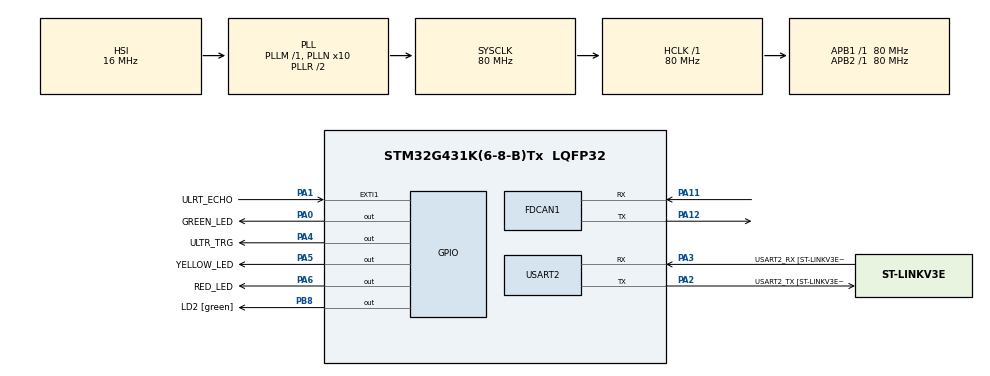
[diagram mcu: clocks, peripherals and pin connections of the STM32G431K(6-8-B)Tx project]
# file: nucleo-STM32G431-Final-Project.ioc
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FDCAN1.AutoRetransmission=ENABLE
FDCAN1.ClockDivider=FDCAN_CLOCK_DIV1
FDCAN1.DataSyncJumpWidth=4
FDCAN1.DataTimeSeg1=5
FDCAN1.DataTimeSeg2=4
FDCAN1.FrameFormat=FDCAN_FRAME_FD_BRS
FDCAN1.NominalPrescaler=1
FDCAN1.NominalSyncJumpWidth=16
FDCAN1.NominalTimeSeg1=63
FDCAN1.NominalTimeSeg2=16
FDCAN1.ProtocolException=DISABLE
FDCAN1.StdFiltersNbr=1
FDCAN1.TransmitPause=DISABLE
FREERTOS.HEAP_NUMBER=4
FREERTOS.Mutexes01=Mutex01,Dynamic,NULL
FREERTOS.Tasks01=Controller,24,300,Controller_handler,Default,NULL,Dynamic,NULL,NULL;led_green,24,128,led_green_handler,Default,NULL,Dynamic,NULL,NULL;ultra_sensor_tr,24,128,Start_ultra_sensor_tr,Default,NULL,Dynamic,NULL,NULL;led_yellow,24,128,led_yellow_handler,Default,NULL,Dynamic,NULL,NULL;led_red,24,128,led_red_handler,Default,NULL,Dynamic,NULL,NULL;CAN_Rx_Ctrlr,24,128,CAN_Rx_Ctrlr_handler,Default,NULL,Dynamic,NULL,NULL;CAN_Tx_Ctrlr,24,128,CAN_Tx_Ctrlr_handler,Default,NULL,Dynamic,NULL,NULL
FREERTOS.configTOTAL_HEAP_SIZE=8072
FREERTOS.configUSE_NEWLIB_REENTRANT=1
Mcu.Family=STM32G4
Mcu.Name=STM32G431K(6-8-B)Tx
Mcu.Package=LQFP32
NVIC.EXTI1_IRQn=true\:5\:0\:false\:false\:true\:true\:true\:true
NVIC.FDCAN1_IT0_IRQn=true\:5\:0\:false\:false\:true\:true\:true\:true
NVIC.PriorityGroup=NVIC_PRIORITYGROUP_4
NVIC.TIM1_UP_TIM16_IRQn=true\:5\:0\:false\:false\:true\:false\:false\:true
NVIC.TIM6_DAC_IRQn=true\:5\:0\:false\:false\:true\:true\:true\:true
NVIC.TIM7_IRQn=true\:5\:0\:false\:false\:true\:true\:true\:true
NVIC.TimeBase=TIM1_UP_TIM16_IRQn
NVIC.TimeBaseIP=TIM1
PA0.GPIO_Label=GREEN_LED
PA0.Signal=GPIO_Output
PA1.GPIO_Label=ULRT_ECHO
PA1.GPIO_ModeDefaultEXTI=GPIO_MODE_IT_RISING_FALLING
PA1.Signal=GPXTI1
PA11.Mode=FDCAN_Activate
PA11.Signal=FDCAN1_RX
PA12.Mode=FDCAN_Activate
PA12.Signal=FDCAN1_TX
PA13.GPIO_Label=T_SWDIO
PA13.Mode=Serial_Wire
PA13.Signal=SYS_JTMS-SWDIO
PA14.GPIO_Label=T_SWCLK
PA14.Mode=Serial_Wire
PA14.Signal=SYS_JTCK-SWCLK
PA2.GPIO_Label=USART2_TX [ST-LINKV3E_VCP_RX]
PA2.Mode=Asynchronous
PA2.Signal=USART2_TX
PA3.GPIO_Label=USART2_RX [ST-LINKV3E_VCP_TX]
PA3.Mode=Asynchronous
PA3.Signal=USART2_RX
PA4.GPIO_Label=ULTR_TRG
PA4.Signal=GPIO_Output
PA5.GPIO_Label=YELLOW_LED
PA5.Signal=GPIO_Output
PA6.GPIO_Label=RED_LED
PA6.Signal=GPIO_Output
PB3.GPIO_Label=T_SWO
PB3.Signal=SYS_JTDO-SWO
PB8-BOOT0.GPIO_Label=LD2 [green]
PB8-BOOT0.Signal=GPIO_Output
ProjectManager.HeapSize=0x200
ProjectManager.StackSize=0x400
ProjectManager.TargetToolchain=STM32CubeIDE
RCC.ADC12Freq_Value=80000000
RCC.AHBFreq_Value=80000000
RCC.APB1Freq_Value=80000000
RCC.APB1TimFreq_Value=80000000
RCC.APB2Freq_Value=80000000
RCC.APB2TimFreq_Value=80000000
RCC.CortexFreq_Value=80000000
RCC.EXTERNAL_CLOCK_VALUE=12288000
RCC.HCLKFreq_Value=80000000
RCC.HSE_VALUE=8000000
RCC.HSI48_VALUE=48000000
RCC.HSI_VALUE=16000000
RCC.LSE_VALUE=32768
RCC.PLLN=10
RCC.SYSCLKFreq_VALUE=80000000
RCC.SYSCLKSource=RCC_SYSCLKSOURCE_PLLCLK
RCC.USBFreq_Value=80000000
RCC.VCOOutputFreq_Value=160000000
TIM2.Prescaler=0
TIM8.PeriodNoDither=0xffff-1
TIM8.Prescaler=80-1
USART2.VirtualMode-Asynchronous=VM_ASYNC
USART2.WordLength=WORDLENGTH_8B
VP_FREERTOS_VS_CMSIS_V2.Mode=CMSIS_V2
VP_SYS_VS_DBSignals.Mode=DisableDeadBatterySignals
VP_SYS_VS_tim1.Mode=TIM1
VP_TIM2_VS_ClockSourceINT.Mode=Internal
VP_TIM6_VS_ClockSourceINT.Mode=Enable_Timer
VP_TIM7_VS_ClockSourceINT.Mode=Enable_Timer
VP_TIM8_VS_ClockSourceINT.Mode=Internal
board=NUCLEO-G431KB

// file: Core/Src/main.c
/* USER CODE BEGIN Header */
/**
  ============================================================================
                     University of Michigan - Dearborn
  ============================================================================
                   ECE-554 Embedded Systems. Winter 2022
  ============================================================================
  %title:             Distance measurement with CAN notification
  %created_by:        Luis Castaneda-Trejo
  %date_created:      2/28/2022
  ============================================================================
   DESCRIPTION : Real-Time embedded controller capable of measuring the
   distance of an object in cm and notify its measurement to a CAN network.
  ============================================================================

  ============================================================================
                                  REVISION HISTORY
  ============================================================================
    REVISION |   DATE      |                               |      AUTHOR
  ============================================================================
    0.1      |  2/25/2022   |                             | L. Castaneda
    0.1.1    |  2/27/2022   |                             | L. Castaneda
    0.5      |  3/18/2022   |                             | L. Castaneda
  ============================================================================
  */
/* USER CODE END Header */
#include "main.h"
#include "cmsis_os.h"
#include "fdcan.h"
#include "tim.h"
#include "usart.h"
#include "gpio.h"

/* USER CODE BEGIN Includes */
#include "Globals.h"
/* USER CODE END Includes */

void SystemClock_Config(void);
void MX_FREERTOS_Init(void);

int main(void)
{

  /* MCU Configuration--------------------------------------------------------*/

  /* Reset of all peripherals, Initializes the Flash interface and the Systick. */
  HAL_Init();

  /* Configure the system clock */
  SystemClock_Config();

  /* Initialize all configured peripherals */
  MX_GPIO_Init();
  MX_USART2_UART_Init();
  MX_FDCAN1_Init();
  MX_TIM6_Init();
  MX_TIM7_Init();
  MX_TIM8_Init();
  MX_TIM2_Init();
  /* USER CODE BEGIN 2 */

  HAL_TIM_Base_Start(&htim2);

  /* USER CODE END 2 */

  /* Init scheduler */
  osKernelInitialize();  /* Call init function for freertos objects (in freertos.c) */
  MX_FREERTOS_Init();
  /* Start scheduler */
  osKernelStart();

  /* We should never get here as control is now taken by the scheduler */
  /* Infinite loop */
  while (1)
  {

  }
}

void SystemClock_Config(void)
{
  RCC_OscInitTypeDef RCC_OscInitStruct = {0};
  RCC_ClkInitTypeDef RCC_ClkInitStruct = {0};

  /** Configure the main internal regulator output voltage
  */
  HAL_PWREx_ControlVoltageScaling(PWR_REGULATOR_VOLTAGE_SCALE1);
  /** Initializes the RCC Oscillators according to the specified parameters
  * in the RCC_OscInitTypeDef structure.
  */
  RCC_OscInitStruct.OscillatorType = RCC_OSCILLATORTYPE_HSI;
  RCC_OscInitStruct.HSIState = RCC_HSI_ON;
  RCC_OscInitStruct.HSICalibrationValue = RCC_HSICALIBRATION_DEFAULT;
  RCC_OscInitStruct.PLL.PLLState = RCC_PLL_ON;
  RCC_OscInitStruct.PLL.PLLSource = RCC_PLLSOURCE_HSI;
  RCC_OscInitStruct.PLL.PLLM = RCC_PLLM_DIV1;
  RCC_OscInitStruct.PLL.PLLN = 10;
  RCC_OscInitStruct.PLL.PLLP = RCC_PLLP_DIV2;
  RCC_OscInitStruct.PLL.PLLQ = RCC_PLLQ_DIV2;
  RCC_OscInitStruct.PLL.PLLR = RCC_PLLR_DIV2;
  if (HAL_RCC_OscConfig(&RCC_OscInitStruct) != HAL_OK)
  {
    Error_Handler();
  }
  /** Initializes the CPU, AHB and APB buses clocks
  */
  RCC_ClkInitStruct.ClockType = RCC_CLOCKTYPE_HCLK|RCC_CLOCKTYPE_SYSCLK
                              |RCC_CLOCKTYPE_PCLK1|RCC_CLOCKTYPE_PCLK2;
  RCC_ClkInitStruct.SYSCLKSource = RCC_SYSCLKSOURCE_PLLCLK;
  RCC_ClkInitStruct.AHBCLKDivider = RCC_SYSCLK_DIV1;
  RCC_ClkInitStruct.APB1CLKDivider = RCC_HCLK_DIV1;
  RCC_ClkInitStruct.APB2CLKDivider = RCC_HCLK_DIV1;

  if (HAL_RCC_ClockConfig(&RCC_ClkInitStruct, FLASH_LATENCY_2) != HAL_OK)
  {
    Error_Handler();
  }
}

void HAL_TIM_PeriodElapsedCallback(TIM_HandleTypeDef *htim)
{
  if (htim->Instance == TIM1) {
    HAL_IncTick();
  }
}

void Error_Handler(void)
{
  __disable_irq();
  while (1)
  {
  }
}

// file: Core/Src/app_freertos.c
/* USER CODE BEGIN Header */
/**
  ******************************************************************************
  * File Name          : app_freertos.c
  * Description        : Code for freertos applications
  ******************************************************************************
  */
/* USER CODE END Header */

#include "FreeRTOS.h"
#include "task.h"
#include "main.h"
#include "cmsis_os.h"

/* USER CODE BEGIN Includes */
#include "Globals.h"
#include "fdcan.h"
#include "tim.h"
#include "stdio.h"
/* USER CODE END Includes */

/* USER CODE BEGIN PTD */
typedef struct memory_buffer
{
	uint32_t downcounter;
	uint8_t enable;
	uint32_t ticks;
}mBuff;
/* USER CODE END PTD */

/* USER CODE BEGIN PD */
#define SPEED_OF_SOUND    34300          // Speed of sound in cm/s.
#define TIMER_PERIOD      0.0000000125   //80 Mhz clock. Period = 0.0125 us.
#define OFF               0
#define ON                1
#define TOGGLE            2
#define RESTART           100
#define DANGER            1
#define WARNING           2
#define SAFE              3
#define CURRENT           0
#define PAST              1
//#define DEBUG_MODE

/* USER CODE END PD */

/* USER CODE BEGIN Variables */
CANobject *CAN_Message1;
uint8_t CAN_MsgContinious = ON;

/* USER CODE END Variables */
/* Definitions for Controller */
const osThreadAttr_t Controller_attributes = {
  .name = "Controller",
  .priority = (osPriority_t) osPriorityNormal,
  .stack_size = 300 * 4
};
/* Definitions for led_green */
const osThreadAttr_t led_green_attributes = {
  .name = "led_green",
  .priority = (osPriority_t) osPriorityNormal,
  .stack_size = 128 * 4
};
/* Definitions for ultra_sensor_tr */
const osThreadAttr_t ultra_sensor_tr_attributes = {
  .name = "ultra_sensor_tr",
  .priority = (osPriority_t) osPriorityNormal,
  .stack_size = 128 * 4
};
/* Definitions for led_yellow */
const osThreadAttr_t led_yellow_attributes = {
  .name = "led_yellow",
  .priority = (osPriority_t) osPriorityNormal,
  .stack_size = 128 * 4
};
/* Definitions for led_red */
const osThreadAttr_t led_red_attributes = {
  .name = "led_red",
  .priority = (osPriority_t) osPriorityNormal,
  .stack_size = 128 * 4
};
/* Definitions for CAN_Rx_Ctrlr */
const osThreadAttr_t CAN_Rx_Ctrlr_attributes = {
  .name = "CAN_Rx_Ctrlr",
  .priority = (osPriority_t) osPriorityNormal,
  .stack_size = 128 * 4
};
/* Definitions for CAN_Tx_Ctrlr */
const osThreadAttr_t CAN_Tx_Ctrlr_attributes = {
  .name = "CAN_Tx_Ctrlr",
  .priority = (osPriority_t) osPriorityNormal,
  .stack_size = 128 * 4
};
/* Definitions for Mutex01 */
osMutexId_t Mutex01Handle;
const osMutexAttr_t Mutex01_attributes = {
  .name = "Mutex01"
};

/* USER CODE BEGIN FunctionPrototypes */
uint8_t number_to_byte_arr(uint8_t *byte_array, uint32_t number_to_convert);

/* USER CODE END FunctionPrototypes */

void Controller_handler(void *argument);
void led_green_handler(void *argument);
void Start_ultra_sensor_tr(void *argument);
void led_yellow_handler(void *argument);
void led_red_handler(void *argument);
void CAN_Rx_Ctrlr_handler(void *argument);
void CAN_Tx_Ctrlr_handler(void *argument);

void MX_FREERTOS_Init(void); /* (MISRA C 2004 rule 8.1) */

void MX_FREERTOS_Init(void) {
  /* Create the mutex(es) */
  /* creation of Mutex01 */
  Mutex01Handle = osMutexNew(&Mutex01_attributes);

  /* Create the thread(s) */
  /* creation of Controller */
  ControllerHandle = osThreadNew(Controller_handler, NULL, &Controller_attributes);

  /* creation of led_green */
  led_greenHandle = osThreadNew(led_green_handler, NULL, &led_green_attributes);

  /* creation of ultra_sensor_tr */
  ultra_sensor_trHandle = osThreadNew(Start_ultra_sensor_tr, NULL, &ultra_sensor_tr_attributes);

  /* creation of led_yellow */
  led_yellowHandle = osThreadNew(led_yellow_handler, NULL, &led_yellow_attributes);

  /* creation of led_red */
  led_redHandle = osThreadNew(led_red_handler, NULL, &led_red_attributes);

  /* creation of CAN_Rx_Ctrlr */
  CAN_Rx_CtrlrHandle = osThreadNew(CAN_Rx_Ctrlr_handler, NULL, &CAN_Rx_Ctrlr_attributes);

  /* creation of CAN_Tx_Ctrlr */
  CAN_Tx_CtrlrHandle = osThreadNew(CAN_Tx_Ctrlr_handler, NULL, &CAN_Tx_Ctrlr_attributes);

}

void Controller_handler(void *argument)
{
  /* USER CODE BEGIN Controller_handler */
  uint32_t timer_ticks = 0;
  uint8_t reversed_array[8], reversed_array_size = 0, reversed_array_elem = 0;
  uint32_t distance_zone;
  float distance;
  SM_STATES state = INIT;
  BaseType_t status;
  mBuff debounce;

  /* Infinite loop */
  for(;;)
  {
	  /* USER CODE BEGIN SM_Controller */
	  switch(state)
	  {
		  case INIT:   /*Initialize the State Machine*/
			           Prepare_CANFilter();
			           CAN_Message1 = GetCANMessage(0x322);                                     //Creates a CAN Message object.
			           CAN_Start();

			           distance_thresholds.danger = 10;
			           distance_thresholds.warning = 20;

			           xTaskNotify((TaskHandle_t)led_greenHandle, ON, eSetValueWithOverwrite);   //Sets GREEN led to OFF
			  	  	   xTaskNotify((TaskHandle_t)led_yellowHandle, OFF, eSetValueWithOverwrite); //Sets YELLOW led to OFF
			  	  	   xTaskNotify((TaskHandle_t)led_redHandle, OFF, eSetValueWithOverwrite);    //Sets RED led to OFF
			  	  	   debounce.downcounter = RESTART;                                           //Sets the debounce counter to initial value.
			  	  	   debounce.enable = OFF;                                                    //Disables debounce logic.

			  	  	   state = MAIN;
					   break;

		  case MAIN:   /*MAIN*/
					   status = xTaskNotifyWait(0, 0, &timer_ticks, pdMS_TO_TICKS(20));

					   if(status == pdPASS)
					   {
						   if(debounce.enable == ON)
						   {
							   timer_ticks = debounce.ticks;                                     //Uses the debounce ticks to prevent bouncing.
							   debounce.downcounter--;
						   }

						   distance = SPEED_OF_SOUND * TIMER_PERIOD * timer_ticks * 0.5;           //Divided by 2 because sound goes from the sensor to object
						                                                                         //and back to the sensor.
#ifdef DEBUG_MODE
						   char string_number[20];
						   osStatus_t  m_status;

						   sprintf(string_number, "%0.3f", distance);
						   m_status = osMutexAcquire(Mutex01Handle, osWaitForever);              //Gets the Mutex for UART printing
						   if(m_status == osOK) print_to_console(string_number);
						   osMutexRelease(Mutex01Handle);
#endif

						   /*This case will trigger the DANGER ZONE indicator (RED LED)*/
						   if(distance >= 0 && distance <= distance_thresholds.danger)
						   {
							   distance_zone = DANGER;

							   xTaskNotify((TaskHandle_t)led_redHandle, TOGGLE, eSetValueWithOverwrite);
							   xTaskNotify((TaskHandle_t)led_greenHandle, OFF, eSetValueWithOverwrite);
							   xTaskNotify((TaskHandle_t)led_yellowHandle, OFF, eSetValueWithOverwrite);

							   if(debounce.downcounter == 0)
							   {
								   debounce.enable = OFF;              //Once debounce memory buffer finish offload. Disable debounce mem buffer.
								   debounce.downcounter = RESTART;
							   }
							   else
							   {
								   debounce.enable = ON;               //Enables debounce memory buffer if previous cycle was OK(GREEN LED).
								   debounce.ticks = timer_ticks;       //Holder for ticks. Will be used for the upcoming cycles.
							   }

							   CAN_Message1->Tx_Payload[7] = 0x02;     //Danger signal is BIT #2.
						   }
						   /*This case will trigger the WARNING ZONE indicator (YELLOW LED)*/
						   else if(distance > distance_thresholds.danger && distance <= distance_thresholds.warning)
						   {
							    distance_zone = WARNING;

								xTaskNotify((TaskHandle_t)led_yellowHandle, ON, eSetValueWithOverwrite);
								xTaskNotify((TaskHandle_t)led_greenHandle, OFF, eSetValueWithOverwrite);
							    xTaskNotify((TaskHandle_t)led_redHandle, OFF, eSetValueWithOverwrite);

								if(debounce.downcounter == 0)          //Same above logic applies to the WARNING case.
								{
									debounce.enable = OFF;
									debounce.downcounter = RESTART;
								}
								else
								{
									debounce.enable = ON;
									debounce.ticks = timer_ticks;
								}

								CAN_Message1->Tx_Payload[7] = 0x01;    //Warning signal is BIT #1.
						   }
						   /*This case will trigger the OK ZONE indicator (GREEN LED)*/
						   else
						   {
							   distance_zone = SAFE;

							   xTaskNotify((TaskHandle_t)led_yellowHandle, OFF, eSetValueWithOverwrite);
							   xTaskNotify((TaskHandle_t)led_redHandle, OFF, eSetValueWithOverwrite);
							   xTaskNotify((TaskHandle_t)led_greenHandle, ON, eSetValueWithOverwrite);

							   CAN_Message1->Tx_Payload[7] = 0x00;       //No Warning or Danger signals.
						   }

						   reversed_array_size = number_to_byte_arr(reversed_array, (uint8_t)distance);
						   reversed_array_elem = reversed_array_size;

						   /*Takes the values from the reversed array and populates the array that will be sent via CAN*/
						   for(uint8_t counter = 0; counter <= reversed_array_size; counter++)
						   {
							  CAN_Message1->Tx_Payload[counter] = reversed_array[reversed_array_elem];
							  reversed_array_elem--;
						   }

						   reversed_array_size = 0;

						   xTaskNotify((TaskHandle_t)CAN_Tx_CtrlrHandle, distance_zone, eSetValueWithOverwrite);
					   }
					   else
						   print_to_console("Waiting for sensor data...");

					   break;

		  case ERR_h:  /*Case to handle errors prior calling error_handler()*/
					   HAL_GPIO_WritePin(GREEN_LED_GPIO_Port, GREEN_LED_Pin, ON);
					   HAL_GPIO_WritePin(RED_LED_GPIO_Port, RED_LED_Pin, ON);
					   HAL_GPIO_WritePin(YELLOW_LED_GPIO_Port, YELLOW_LED_Pin, ON);

					   Error_Handler();
					   break;

		  default:     break;
	  }
	  /* USER CODE END SM_Controller */

   }
  /* USER CODE END Controller_handler */
}

void led_green_handler(void *argument)
{
  /* USER CODE BEGIN led_green_handler */
  uint32_t flag;
  BaseType_t status;

  /* Infinite loop */
  for(;;)
  {
	  //HAL_GPIO_TogglePin(GREEN_LED_GPIO_Port, GREEN_LED_Pin);
	  status = xTaskNotifyWait(0, 0, &flag, pdMS_TO_TICKS(10));

#ifdef DEBUG_MODE
	  char string_number[20];
	  osStatus_t  m_status;

	  sprintf(string_number, "%u", flag);
	  m_status = osMutexAcquire(Mutex01Handle, osWaitForever);           //Gets the Mutex for UART printing
	  if(m_status == osOK){
		  print_to_console("led_handler value received...");
		  print_to_console(string_number);
	  }
	  osMutexRelease(Mutex01Handle);                                     //Releases the Mutex
#endif

	  if(status == pdPASS)
	  {
		  switch(flag)
		  {
			  case ON:     HAL_GPIO_WritePin(GREEN_LED_GPIO_Port, GREEN_LED_Pin, ON);   break;
			  case OFF:    HAL_GPIO_WritePin(GREEN_LED_GPIO_Port, GREEN_LED_Pin, OFF);  break;
			  case TOGGLE: HAL_GPIO_TogglePin(GREEN_LED_GPIO_Port, GREEN_LED_Pin);      break;
			  default:                                                                  break;
		  }
	  }
  }
  /* USER CODE END led_green_handler */
}

void Start_ultra_sensor_tr(void *argument)
{
  /* USER CODE BEGIN Start_ultra_sensor_tr */
  TickType_t xLastWakeTime;
  HAL_TIM_Base_Start(&htim8);

  xLastWakeTime = xTaskGetTickCount();

  /* Infinite loop */
  for(;;)
  {
	  HAL_GPIO_WritePin(ULTR_TRG_GPIO_Port, ULTR_TRG_Pin, GPIO_PIN_SET);
	  delay_us(10);  //The HC-SR10 needs a delay of 10 us as a minimum for the TRIG to happen.
	  HAL_GPIO_WritePin(ULTR_TRG_GPIO_Port, ULTR_TRG_Pin, GPIO_PIN_RESET);

      vTaskDelayUntil(&xLastWakeTime, pdMS_TO_TICKS(3));
  }
  /* USER CODE END Start_ultra_sensor_tr */
}

void led_yellow_handler(void *argument)
{
  /* USER CODE BEGIN led_yellow_handler */
  uint32_t flag;
  BaseType_t status;

  /* Infinite loop */
  for(;;)
  {
	  status = xTaskNotifyWait(0, 0, &flag, pdMS_TO_TICKS(10));

#ifdef DEBUG_MODE
	  char string_number[20];
	  osStatus_t  m_status;

	  sprintf(string_number, "%u", flag);
	  m_status = osMutexAcquire(Mutex01Handle, osWaitForever);           //Gets the Mutex for UART printing
	  if(m_status == osOK){
		  print_to_console("led_handler value received...");
		  print_to_console(string_number);
	  }
	  osMutexRelease(Mutex01Handle);                                     //Releases the Mutex
#endif

	  if(status == pdPASS)
	  {
		  switch(flag)
		  {
			  case ON:     HAL_GPIO_WritePin(YELLOW_LED_GPIO_Port, YELLOW_LED_Pin, ON);  break;
			  case OFF:    HAL_GPIO_WritePin(YELLOW_LED_GPIO_Port, YELLOW_LED_Pin, OFF); break;
			  case TOGGLE: HAL_GPIO_TogglePin(YELLOW_LED_GPIO_Port, YELLOW_LED_Pin);     break;
			  default:                                                                   break;
		  }
	  }
  }
  /* USER CODE END led_yellow_handler */
}

void led_red_handler(void *argument)
{
  /* USER CODE BEGIN led_red_handler */
  uint32_t flag;
  BaseType_t status;

  /* Infinite loop */
  for(;;)
  {
	  status = xTaskNotifyWait(0, 0, &flag, pdMS_TO_TICKS(10));

#ifdef DEBUG_MODE
	  char string_number[20];
	  osStatus_t  m_status;

	  sprintf(string_number, "%u", flag);
	  m_status = osMutexAcquire(Mutex01Handle, osWaitForever);           //Gets the Mutex for UART printing
	  if(m_status == osOK){
		  print_to_console("led_handler value received...");
		  print_to_console(string_number);
	  }
	  osMutexRelease(Mutex01Handle);                                     //Releases the Mutex
#endif

	  if(status == pdTRUE)
	  {
		  switch(flag)
		  {
			  case ON:     HAL_GPIO_WritePin(RED_LED_GPIO_Port, RED_LED_Pin, ON);  break;
			  case OFF:    HAL_GPIO_WritePin(RED_LED_GPIO_Port, RED_LED_Pin, OFF); break;
			  case TOGGLE: HAL_GPIO_TogglePin(RED_LED_GPIO_Port, RED_LED_Pin);
			               vTaskDelay(pdMS_TO_TICKS(100));
						   break;
			  default:     break;
		  }
	  }
  }
  /* USER CODE END led_red_handler */
}

void CAN_Rx_Ctrlr_handler(void *argument)
{
  /* USER CODE BEGIN CAN_Rx_Ctrlr_handler */
  BaseType_t status;
  CANobject *CAN_MessageRx;

  CAN_MessageRx = GetCANMessage(0x72E);                                                          //Creates a CAN Message object.

  /* Infinite loop */
  for(;;)
  {
	  status = xTaskNotifyWait(0, 0, NULL, pdMS_TO_TICKS(20));
	  if(status == pdPASS)
	  {
		  if(CAN_MSG_Received.Rx_Payload[1] == 0x22 && CAN_MSG_Received.Rx_Payload[2] == 0xFE)
		  {
			  switch(CAN_MSG_Received.Rx_Payload[3])
			  {
			       case 0x01: /*CONFIGURATION CASE: Update Thresholds*/
#ifdef DEBUG_MODE
			    	          osStatus_t  m_status;
			    	          m_status = osMutexAcquire(Mutex01Handle, osWaitForever);           //Gets the Mutex for UART printing
							  if(m_status == osOK) print_to_console("Updating distance thresholds...");
							  osMutexRelease(Mutex01Handle);                                     //Releases the Mutex
#endif

							  distance_thresholds.danger  = CAN_MSG_Received.Rx_Payload[4];      //Sets the new danger threshold value.
			       	   	   	  distance_thresholds.warning = CAN_MSG_Received.Rx_Payload[5];      //Sets the new warning threshold value.

			       	   	      CAN_MessageRx->Tx_Payload[0] = 0x05;                               //Sets the 0x562 header for response part 1.
			       	   	      CAN_MessageRx->Tx_Payload[1] = 0x62;								 //Sets the 0x562 header for response part 2.
			       	   	      CAN_MessageRx->Tx_Payload[2] = 0xFE;                               //Sets the DID number.
			       	   	      CAN_MessageRx->Tx_Payload[3] = 0x01;                               //Sets the DID configuration case.
			       	   	      CAN_MessageRx->Tx_Payload[4] = CAN_MSG_Received.Rx_Payload[4];     //Sets the acknowledge danger threshold.
			       	   	      CAN_MessageRx->Tx_Payload[5] = CAN_MSG_Received.Rx_Payload[5];     //Sets the acknowledge warning threshold.

			       	   	   	  HAL_FDCAN_AddMessageToTxFifoQ(&hfdcan1, &CAN_MessageRx->TxHeader, CAN_MessageRx->Tx_Payload); //Sends positive acknowledgment.

#ifdef DEBUG_MODE
			       	   	      m_status = osMutexAcquire(Mutex01Handle, osWaitForever);           //Gets the Mutex for UART printing
			       	   		  if(m_status == osOK) print_to_console("Distance thresholds updated");
			       	   		  osMutexRelease(Mutex01Handle);                                     //Releases the Mutex
#endif

			    	          break;

			       case 0x02: /*CONFIGURATION CASE: Distance notification mode */
			    	          if(CAN_MSG_Received.Rx_Payload[4] == 0x01)                         //Continuous mode
			    	          {
			    	        	  CAN_MsgContinious = ON;

			    	        	  CAN_MessageRx->Tx_Payload[0] = 0x05;                               //Sets the 0x562 header for response part 1.
								  CAN_MessageRx->Tx_Payload[1] = 0x62;								 //Sets the 0x562 header for response part 2.
								  CAN_MessageRx->Tx_Payload[2] = 0xFE;                               //Sets the DID number.
								  CAN_MessageRx->Tx_Payload[3] = 0x02;                               //Sets the DID configuration case.
								  CAN_MessageRx->Tx_Payload[4] = CAN_MSG_Received.Rx_Payload[4];     //Sets the acknowledge danger threshold.
								  CAN_MessageRx->Tx_Payload[5] = CAN_MSG_Received.Rx_Payload[5];     //Sets the acknowledge warning threshold.

								  HAL_FDCAN_AddMessageToTxFifoQ(&hfdcan1, &CAN_MessageRx->TxHeader, CAN_MessageRx->Tx_Payload); //Sends positive acknowledgment.

			    	          }
			    	          else if(CAN_MSG_Received.Rx_Payload[4] == 0x02)                    //Event based mode
			    	          {
			    	        	  CAN_MsgContinious = OFF;

			    	        	  CAN_MessageRx->Tx_Payload[0] = 0x05;                               //Sets the 0x562 header for response part 1.
								  CAN_MessageRx->Tx_Payload[1] = 0x62;								 //Sets the 0x562 header for response part 2.
								  CAN_MessageRx->Tx_Payload[2] = 0xFE;                               //Sets the DID number.
								  CAN_MessageRx->Tx_Payload[3] = 0x02;                               //Sets the DID configuration case.
								  CAN_MessageRx->Tx_Payload[4] = CAN_MSG_Received.Rx_Payload[4];     //Sets the acknowledge danger threshold.
								  CAN_MessageRx->Tx_Payload[5] = CAN_MSG_Received.Rx_Payload[5];     //Sets the acknowledge warning threshold.

								  HAL_FDCAN_AddMessageToTxFifoQ(&hfdcan1, &CAN_MessageRx->TxHeader, CAN_MessageRx->Tx_Payload); //Sends positive acknowledgment.
			    	        	  HAL_FDCAN_AddMessageToTxFifoQ(&hfdcan1, &CAN_Message1->TxHeader, CAN_Message1->Tx_Payload); //Sends the distance to the CAN network.
			    	          }
			    	          else
								  send_negative_CAN_Rx(CAN_MessageRx);

			    	          break;

			       default:   /*Unknown configuration case*/
#ifdef DEBUG_MODE
			    	          m_status = osMutexAcquire(Mutex01Handle, osWaitForever);           //Gets the Mutex for UART printing
			    	   		  if(m_status == osOK) print_to_console("Unknown configuration mode!");
			    	   		  osMutexRelease(Mutex01Handle);                                     //Releases the Mutex
#endif
			    	   		  send_negative_CAN_Rx(CAN_MessageRx);
					          break;
			  }
		  }
		  else
			  send_negative_CAN_Rx(CAN_MessageRx);

	  }
  }
  /* USER CODE END CAN_Rx_Ctrlr_handler */
}

void CAN_Tx_Ctrlr_handler(void *argument)
{
  /* USER CODE BEGIN CAN_Tx_Ctrlr_handler */
  BaseType_t status;
  uint32_t c_distance_zone, p_distance_zone = SAFE;

  /* Infinite loop */
  for(;;)
  {
	  status = xTaskNotifyWait(0, 0, &c_distance_zone, pdMS_TO_TICKS(20));

	  if(status == pdPASS && CAN_MsgContinious == ON)
		  HAL_FDCAN_AddMessageToTxFifoQ(&hfdcan1, &CAN_Message1->TxHeader, CAN_Message1->Tx_Payload); //Sends the distance to the CAN network.

	  else if(status == pdPASS && CAN_MsgContinious == OFF && c_distance_zone != p_distance_zone){
		  HAL_FDCAN_AddMessageToTxFifoQ(&hfdcan1, &CAN_Message1->TxHeader, CAN_Message1->Tx_Payload); //Sends the distance to the CAN network.
		  p_distance_zone = c_distance_zone;
	  }

  }
  /* USER CODE END CAN_Tx_Ctrlr_handler */
}

/* USER CODE BEGIN Application */
/**
* @brief Function that converts a number to a byte array.
* @param argument: Array address, number to convert
* @retval Number or array elements
*/
uint8_t number_to_byte_arr(uint8_t *byte_array, uint32_t number_to_convert)
{
	uint8_t arr_index = 0;

	while(number_to_convert > 0)
	{
		byte_array[arr_index] = number_to_convert & 0xFF;
	    number_to_convert >>= 8;
	    arr_index++;
	}

	return arr_index - 1;  //Decrease 1 unit due to zero indexing.
}
/* USER CODE END Application */
